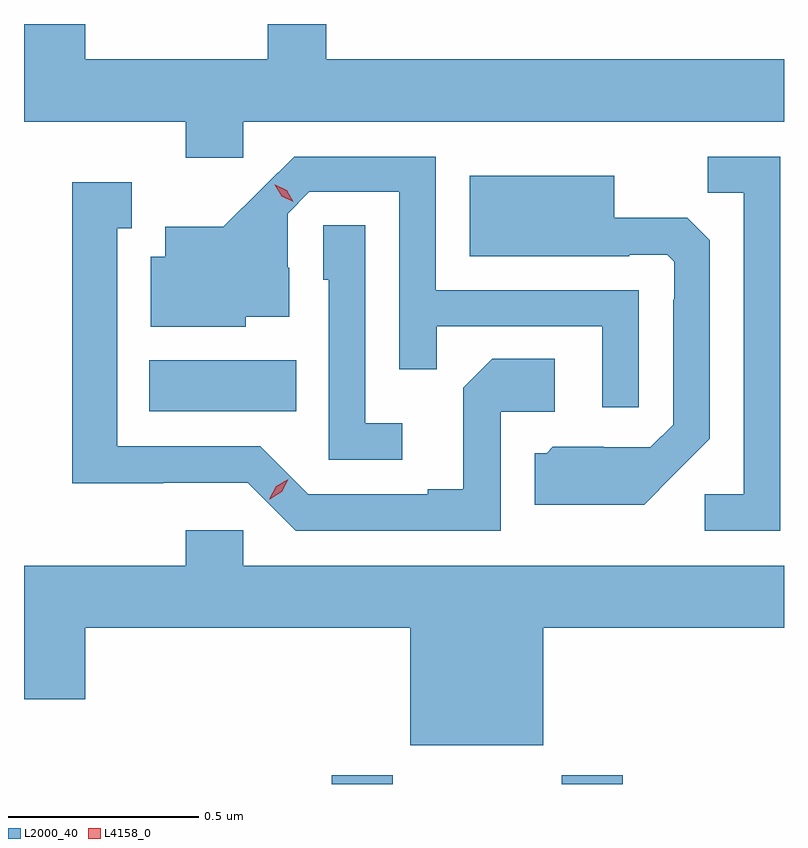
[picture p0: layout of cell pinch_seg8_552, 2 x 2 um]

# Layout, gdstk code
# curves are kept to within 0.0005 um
import gdstk
lib = gdstk.Library(unit=1e-6, precision=1e-09)
def R(c, l, rs):  # rectangles x0, y0, x1, y1
    for r in rs: c.add(gdstk.rectangle(r[:2], r[2:], *l))
def P(c, l, *ps):  # polygons
    for p in ps: c.add(gdstk.Polygon(p, *l))
L2000_40 = (2000, 40)
L4158_0 = (4158, 0)

pinch_seg8_552 = lib.new_cell('pinch_seg8_552')
R(pinch_seg8_552, L2000_40, [(117.869,1120.085,118.029,1120.108), (118.474,1120.085,118.634,1120.108), (117.389,1121.066,117.776,1121.2)])
P(pinch_seg8_552, L2000_40, [(117.636,1121.828),(119.059,1121.828),(119.059,1121.992),(117.854,1121.992),(117.854,1122.085),(117.701,1122.085),(117.701,1121.992),(117.22,1121.992),(117.22,1122.085),(117.059,1122.085),(117.059,1121.828),(117.485,1121.828),(117.485,1121.733),(117.636,1121.733)],
  [(118.677,1121.385),(118.143,1121.385),(118.143,1121.736),(117.77,1121.736),(117.583,1121.551),(117.431,1121.551),(117.431,1121.473),(117.392,1121.473),(117.392,1121.288),(117.642,1121.288),(117.642,1121.315),(117.757,1121.315),(117.757,1121.444),(117.753,1121.444),(117.753,1121.586),(117.81,1121.643),(118.047,1121.643),(118.047,1121.176),(118.145,1121.176),(118.145,1121.289),(118.581,1121.289),(118.581,1121.076),(118.677,1121.076)],
  [(119.049,1121.736),(118.858,1121.736),(118.858,1121.641),(118.953,1121.641),(118.953,1120.848),(118.851,1120.848),(118.851,1120.752),(119.049,1120.752)],
  [(118.771,1120.901),(118.863,1120.994),(118.863,1121.516),(118.804,1121.575),(118.612,1121.575),(118.612,1121.686),(118.232,1121.686),(118.232,1121.474),(118.652,1121.474),(118.652,1121.478),(118.752,1121.478),(118.77,1121.46),(118.77,1121.36),(118.767,1121.36),(118.767,1121.031),(118.707,1120.971),(118.584,1120.971),(118.584,1120.972),(118.45,1120.972),(118.434,1120.956),(118.403,1120.956),(118.403,1120.82),(118.691,1120.82)],
  [(118.314,1121.064),(118.456,1121.064),(118.456,1121.204),(118.291,1121.204),(118.215,1121.128),(118.215,1120.861),(118.121,1120.861),(118.121,1120.848),(117.807,1120.848),(117.681,1120.974),(117.304,1120.974),(117.304,1121.547),(117.343,1121.547),(117.343,1121.668),(117.186,1121.668),(117.186,1120.877),(117.426,1120.877),(117.426,1120.878),(117.648,1120.878),(117.774,1120.752),(118.314,1120.752)],
  [(118.054,1121.035),(117.957,1121.035),(117.957,1121.555),(117.846,1121.555),(117.846,1121.412),(117.861,1121.412),(117.861,1120.938),(118.054,1120.938)],
  [(118.426,1120.496),(119.059,1120.496),(119.059,1120.66),(117.636,1120.66),(117.636,1120.753),(117.485,1120.753),(117.485,1120.66),(117.059,1120.66),(117.059,1120.308),(117.22,1120.308),(117.22,1120.496),(118.076,1120.496),(118.076,1120.187),(118.426,1120.187)])
P(pinch_seg8_552, L4158_0, [(117.768,1121.617),(117.737,1121.632),(117.719,1121.662),(117.719,1121.662),(117.72,1121.662),(117.75,1121.647),(117.768,1121.617),(117.768,1121.617)],
  [(117.705,1120.835),(117.705,1120.835),(117.723,1120.868),(117.755,1120.887),(117.755,1120.887),(117.755,1120.887),(117.737,1120.854),(117.706,1120.835)])

lib.write_gds('pinch_seg8_552.gds')
